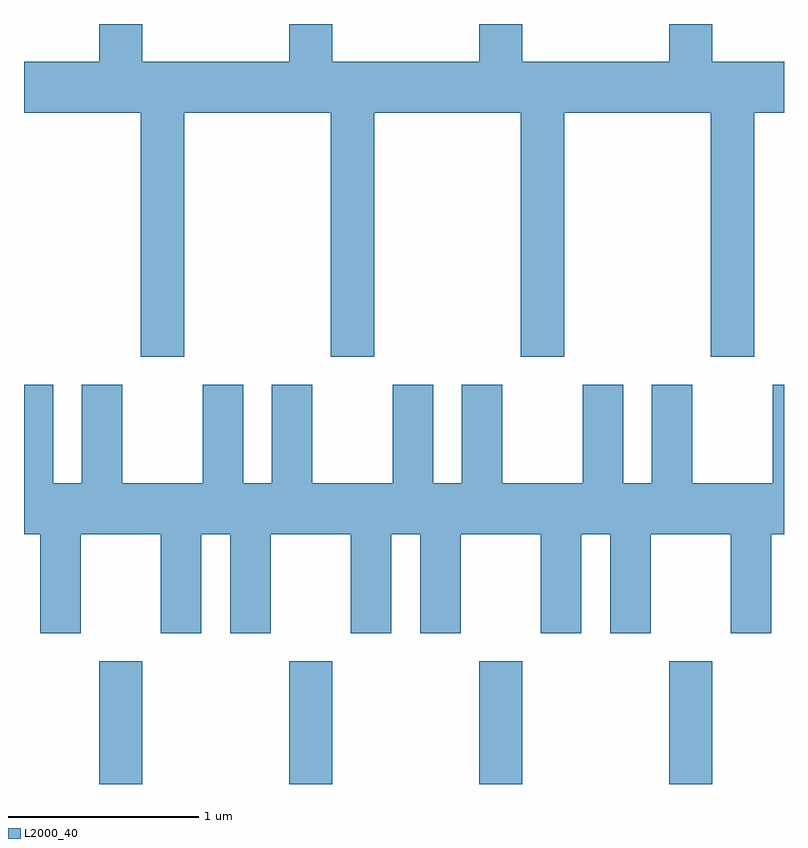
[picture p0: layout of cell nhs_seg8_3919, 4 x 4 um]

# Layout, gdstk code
import gdstk
lib = gdstk.Library(unit=1e-6, precision=1e-09)
def R(c, l, rs):  # rectangles x0, y0, x1, y1
    for r in rs: c.add(gdstk.rectangle(r[:2], r[2:], *l))
def A(c, l, x, y, w, h, nx, ny, dx, dy):  # array of equal rectangles
    R(c, l, [(x+i*dx, y+j*dy, x+i*dx+w, y+j*dy+h) for i in range(nx) for j in range(ny)])
def P(c, l, *ps):  # polygons
    for p in ps: c.add(gdstk.Polygon(p, *l))
L2000_40 = (2000, 40)

nhs_seg8_3919 = lib.new_cell('nhs_seg8_3919')
A(nhs_seg8_3919, L2000_40, 302.006, 1928.342, 0.228, 0.647, 4, 1, 1, 0)
P(nhs_seg8_3919, L2000_40, [(302.454,1931.876),(303.226,1931.876),(303.226,1930.591),(303.454,1930.591),(303.454,1931.876),(304.226,1931.876),(304.226,1930.591),(304.454,1930.591),(304.454,1931.876),(305.226,1931.876),(305.226,1930.591),(305.454,1930.591),(305.454,1931.876),(305.611,1931.876),(305.611,1932.144),(305.234,1932.144),(305.234,1932.342),(305.006,1932.342),(305.006,1932.144),(304.234,1932.144),(304.234,1932.342),(304.006,1932.342),(304.006,1932.144),(303.234,1932.144),(303.234,1932.342),(303.006,1932.342),(303.006,1932.144),(302.234,1932.144),(302.234,1932.342),(302.006,1932.342),(302.006,1932.144),(301.611,1932.144),(301.611,1931.876),(302.226,1931.876),(302.226,1930.591),(302.454,1930.591)],
  [(301.909,1929.656),(302.331,1929.656),(302.331,1929.136),(302.544,1929.136),(302.544,1929.656),(302.696,1929.656),(302.696,1929.136),(302.909,1929.136),(302.909,1929.656),(303.331,1929.656),(303.331,1929.136),(303.544,1929.136),(303.544,1929.656),(303.696,1929.656),(303.696,1929.136),(303.909,1929.136),(303.909,1929.656),(304.331,1929.656),(304.331,1929.136),(304.544,1929.136),(304.544,1929.656),(304.696,1929.656),(304.696,1929.136),(304.909,1929.136),(304.909,1929.656),(305.331,1929.656),(305.331,1929.136),(305.544,1929.136),(305.544,1929.656),(305.611,1929.656),(305.611,1930.444),(305.551,1930.444),(305.551,1929.924),(305.129,1929.924),(305.129,1930.444),(304.916,1930.444),(304.916,1929.924),(304.764,1929.924),(304.764,1930.444),(304.551,1930.444),(304.551,1929.924),(304.129,1929.924),(304.129,1930.444),(303.916,1930.444),(303.916,1929.924),(303.764,1929.924),(303.764,1930.444),(303.551,1930.444),(303.551,1929.924),(303.129,1929.924),(303.129,1930.444),(302.916,1930.444),(302.916,1929.924),(302.764,1929.924),(302.764,1930.444),(302.551,1930.444),(302.551,1929.924),(302.129,1929.924),(302.129,1930.444),(301.916,1930.444),(301.916,1929.924),(301.764,1929.924),(301.764,1930.444),(301.611,1930.444),(301.611,1929.656),(301.696,1929.656),(301.696,1929.136),(301.909,1929.136)])

lib.write_gds('nhs_seg8_3919.gds')
